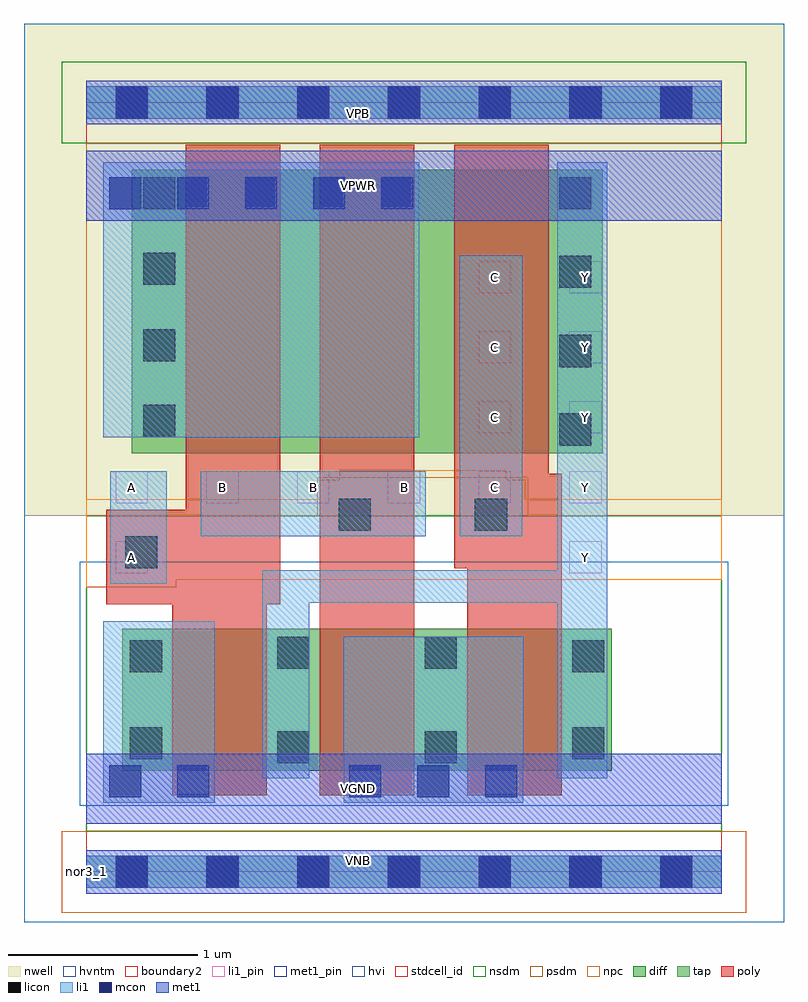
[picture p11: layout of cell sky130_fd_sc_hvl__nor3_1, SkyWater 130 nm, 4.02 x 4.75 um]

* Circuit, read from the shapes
.subckt sky130_fd_sc_hvl__nor3_1 A B C VGND VNB VPB VPWR Y
XM1 Y A VGND VNB sky130_fd_pr__nfet_g5v0d10v5 w=0.75 l=0.5
XM2 VGND B Y VNB sky130_fd_pr__nfet_g5v0d10v5 w=0.75 l=0.5
XM3 Y C VGND VNB sky130_fd_pr__nfet_g5v0d10v5 w=0.75 l=0.5
XM4 n1 A VPWR VPB sky130_fd_pr__pfet_g5v0d10v5 w=1.5 l=0.5
XM5 n2 B n1 VPB sky130_fd_pr__pfet_g5v0d10v5 w=1.5 l=0.5
XM6 Y C n2 VPB sky130_fd_pr__pfet_g5v0d10v5 w=1.5 l=0.5
.ends

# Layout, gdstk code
import gdstk
lib = gdstk.Library(unit=1e-6, precision=1e-09)
def R(c, l, rs):  # rectangles x0, y0, x1, y1
    for r in rs: c.add(gdstk.rectangle(r[:2], r[2:], *l))
def A(c, l, x, y, w, h, nx, ny, dx, dy):  # array of equal rectangles
    R(c, l, [(x+i*dx, y+j*dy, x+i*dx+w, y+j*dy+h) for i in range(nx) for j in range(ny)])
def P(c, l, *ps):  # polygons
    for p in ps: c.add(gdstk.Polygon(p, *l))
nwell = (64, 20)
diff = (65, 20)
tap = (65, 44)
poly = (66, 20)
licon = (66, 44)
li1_pin = (67, 16)
li1 = (67, 20)
mcon = (67, 44)
met1_pin = (68, 16)
met1 = (68, 20)
hvi = (75, 20)
stdcell_id = (81, 4)
nsdm = (93, 44)
psdm = (94, 20)
npc = (95, 20)
hvntm = (125, 20)
boundary2 = (236, 0)

sky130_fd_sc_hvl__nor3_1 = lib.new_cell('sky130_fd_sc_hvl__nor3_1')
R(sky130_fd_sc_hvl__nor3_1, nwell, [(-0.33,1.885,3.69,4.485)])
R(sky130_fd_sc_hvl__nor3_1, diff, [(0.19,0.535,2.78,1.285), (0.24,2.215,2.73,3.715)])
R(sky130_fd_sc_hvl__nor3_1, tap, [(0,-0.085,3.36,0.085), (0,3.985,3.36,4.155)])
R(sky130_fd_sc_hvl__nor3_1, poly, [(1.235,0.405,1.735,3.845)])
P(sky130_fd_sc_hvl__nor3_1, poly, [(1.025,3.845),(0.525,3.845),(0.525,1.915),(0.105,1.915),(0.105,1.415),(0.455,1.415),(0.455,0.405),(0.955,0.405),(0.955,1.415),(1.025,1.415)],
  [(2.515,2.105),(2.445,2.105),(2.445,3.845),(1.945,3.845),(1.945,1.605),(2.015,1.605),(2.015,0.405),(2.515,0.405)])
A(sky130_fd_sc_hvl__nor3_1, licon, 0.155, -0.085, 0.17, 0.17, 7, 2, 0.48, 4.07)
R(sky130_fd_sc_hvl__nor3_1, licon, [(1.01,0.575,1.18,0.745), (1.79,0.575,1.96,0.745), (0.23,0.595,0.4,0.765), (2.57,0.595,2.74,0.765), (0.23,1.055,0.4,1.225), (2.57,1.055,2.74,1.225), (1.01,1.075,1.18,1.245), (1.79,1.075,1.96,1.245), (0.205,1.605,0.375,1.775), (1.335,1.805,1.505,1.975), (2.055,1.805,2.225,1.975), (2.5,2.255,2.67,2.425), (0.3,2.3,0.47,2.47), (2.5,2.67,2.67,2.84), (0.3,2.7,0.47,2.87), (2.5,3.09,2.67,3.26), (0.3,3.105,0.47,3.275), (0.3,3.505,0.47,3.675), (2.5,3.505,2.67,3.675)])
A(sky130_fd_sc_hvl__nor3_1, li1_pin, 0.155, 1.95, 0.17, 0.17, 6, 1, 0.48, 0)
A(sky130_fd_sc_hvl__nor3_1, li1_pin, 2.075, 2.32, 0.17, 0.17, 1, 3, 0, 0.37)
A(sky130_fd_sc_hvl__nor3_1, li1_pin, 2.555, 2.32, 0.17, 0.17, 1, 3, 0, 0.37)
R(sky130_fd_sc_hvl__nor3_1, li1_pin, [(0.155,1.58,0.325,1.75), (2.555,1.58,2.725,1.75)])
R(sky130_fd_sc_hvl__nor3_1, li1, [(0,-0.085,3.36,0.085), (0.09,0.365,0.68,1.325), (1.36,0.365,2.31,1.245), (0.125,1.525,0.425,2.12), (0.605,1.775,1.795,2.12), (1.975,1.775,2.305,3.26), (0.09,2.3,1.76,3.755), (0,3.985,3.36,4.155)])
P(sky130_fd_sc_hvl__nor3_1, li1, [(2.755,3.755),(2.49,3.755),(2.49,1.595),(0.93,1.595),(0.93,0.495),(1.18,0.495),(1.18,1.425),(2.49,1.425),(2.49,0.495),(2.755,0.495)])
A(sky130_fd_sc_hvl__nor3_1, mcon, 0.155, -0.085, 0.17, 0.17, 7, 2, 0.48, 4.07)
A(sky130_fd_sc_hvl__nor3_1, mcon, 1.39, 0.395, 0.17, 0.17, 3, 1, 0.36, 0)
A(sky130_fd_sc_hvl__nor3_1, mcon, 0.12, 3.505, 0.17, 0.17, 5, 1, 0.36, 0)
R(sky130_fd_sc_hvl__nor3_1, mcon, [(0.12,0.395,0.29,0.565), (0.48,0.395,0.65,0.565)])
R(sky130_fd_sc_hvl__nor3_1, met1_pin, [(0,0,3.36,0.115), (0,0.255,3.36,0.625), (0,3.445,3.36,3.815), (0,3.955,3.36,4.07)])
R(sky130_fd_sc_hvl__nor3_1, met1, [(0,-0.115,3.36,0.115), (0,0.255,3.36,0.625), (0,3.445,3.36,3.815), (0,3.955,3.36,4.185)])
R(sky130_fd_sc_hvl__nor3_1, hvi, [(-0.33,-0.265,3.69,4.485)])
R(sky130_fd_sc_hvl__nor3_1, stdcell_id, [(0,0,3.36,4.07)])
R(sky130_fd_sc_hvl__nor3_1, nsdm, [(0,0.215,3.36,1.885), (-0.13,3.855,3.49,4.285)])
R(sky130_fd_sc_hvl__nor3_1, psdm, [(-0.13,-0.215,3.49,0.215)])
P(sky130_fd_sc_hvl__nor3_1, psdm, [(3.36,3.855),(0,3.855),(0,1.885),(1.225,1.885),(1.225,2.085),(2.335,2.085),(2.335,1.885),(3.36,1.885)])
P(sky130_fd_sc_hvl__nor3_1, npc, [(3.36,1.97),(2.325,1.97),(2.325,2.075),(2.22,2.075),(2.22,2.125),(1.34,2.125),(1.34,2.075),(1.235,2.075),(1.235,1.97),(0,1.97),(0,1.505),(0.475,1.505),(0.475,1.545),(3.36,1.545)])
R(sky130_fd_sc_hvl__nor3_1, hvntm, [(-0.035,0.35,3.395,1.64)])
R(sky130_fd_sc_hvl__nor3_1, boundary2, [(0,0,3.36,4.07)])
sky130_fd_sc_hvl__nor3_1.add(gdstk.Label('nor3_1', (0,0), layer=83, texttype=44))
sky130_fd_sc_hvl__nor3_1.add(gdstk.Label('VGND', (1.44,0.44), layer=68, texttype=5))
sky130_fd_sc_hvl__nor3_1.add(gdstk.Label('VNB', (1.44,0.058), layer=68, texttype=5))
sky130_fd_sc_hvl__nor3_1.add(gdstk.Label('VPWR', (1.44,3.63), layer=68, texttype=5))
sky130_fd_sc_hvl__nor3_1.add(gdstk.Label('VPB', (1.44,4.013), layer=68, texttype=5))
sky130_fd_sc_hvl__nor3_1.add(gdstk.Label('A', (0.24,1.665), layer=67, texttype=5))
sky130_fd_sc_hvl__nor3_1.add(gdstk.Label('A', (0.24,2.035), layer=67, texttype=5))
sky130_fd_sc_hvl__nor3_1.add(gdstk.Label('B', (0.72,2.035), layer=67, texttype=5))
sky130_fd_sc_hvl__nor3_1.add(gdstk.Label('B', (1.2,2.035), layer=67, texttype=5))
sky130_fd_sc_hvl__nor3_1.add(gdstk.Label('B', (1.68,2.035), layer=67, texttype=5))
sky130_fd_sc_hvl__nor3_1.add(gdstk.Label('C', (2.16,2.035), layer=67, texttype=5))
sky130_fd_sc_hvl__nor3_1.add(gdstk.Label('C', (2.16,2.405), layer=67, texttype=5))
sky130_fd_sc_hvl__nor3_1.add(gdstk.Label('C', (2.16,2.775), layer=67, texttype=5))
sky130_fd_sc_hvl__nor3_1.add(gdstk.Label('C', (2.16,3.145), layer=67, texttype=5))
sky130_fd_sc_hvl__nor3_1.add(gdstk.Label('Y', (2.64,1.665), layer=67, texttype=5))
sky130_fd_sc_hvl__nor3_1.add(gdstk.Label('Y', (2.64,2.035), layer=67, texttype=5))
sky130_fd_sc_hvl__nor3_1.add(gdstk.Label('Y', (2.64,2.405), layer=67, texttype=5))
sky130_fd_sc_hvl__nor3_1.add(gdstk.Label('Y', (2.64,2.775), layer=67, texttype=5))
sky130_fd_sc_hvl__nor3_1.add(gdstk.Label('Y', (2.64,3.145), layer=67, texttype=5))

lib.write_gds('sky130_fd_sc_hvl__nor3_1.gds')
